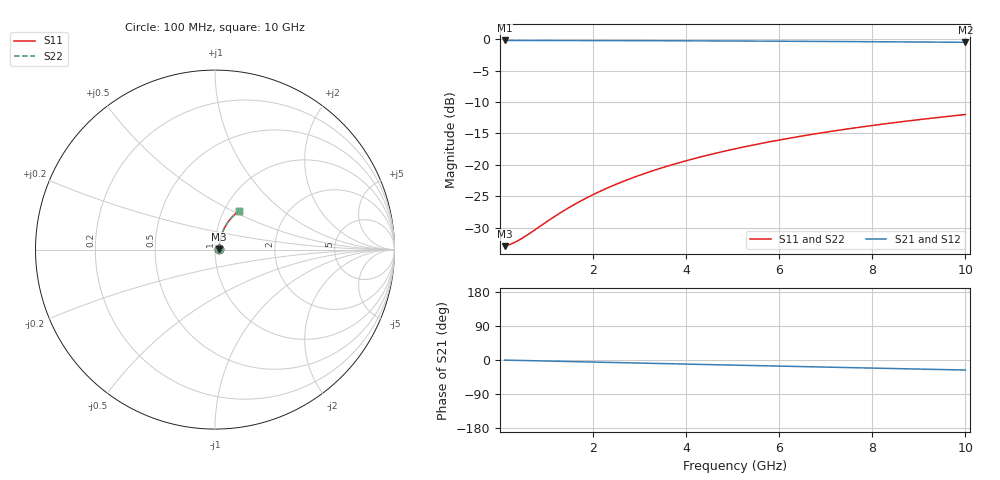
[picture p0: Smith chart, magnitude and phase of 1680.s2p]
# Hz S RI R 50.00
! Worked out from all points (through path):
!   100 points, 100 MHz to 10 GHz, reference 50 ohm
!   highest |S21| = -0.20 dB at 100 MHz (marker M1); lowest = -0.5 dB at 10 GHz (marker M2)
!   group delay of S21, straight-line fit = 7.37 ps
!   lowest |S11| = -33.0 dB at 100 MHz (marker M3), VSWR 1.05, Z = 52.3 + j0.267 ohm
!   |S11| at or under -10 dB: start of sweep to end of sweep
!   |S22| runs from -33.0 to -12.0 dB; largest |S21 - S12| = 0
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1e8  0.0223 0.00255  0.9777 -0.00462  0.9777 -0.00462  0.0223 0.00255
2e8  0.0225 0.00509  0.9775 -0.00923  0.9775 -0.00923  0.0225 0.00509
3e8  0.0227 0.00764  0.9773 -0.0138  0.9773 -0.0138  0.0227 0.00764
4e8  0.0228 0.0102  0.9771 -0.0185  0.9771 -0.0185  0.0228 0.0102
6e8  0.0232 0.0153  0.9767 -0.0277  0.9767 -0.0277  0.0232 0.0153
1.1e9  0.0245 0.0279  0.9753 -0.0507  0.9753 -0.0507  0.0245 0.0279
1.3e9  0.0251 0.033  0.9745 -0.0599  0.9745 -0.0599  0.0251 0.033
1.5e9  0.0259 0.038  0.9736 -0.069  0.9736 -0.069  0.0259 0.038
1.8e9  0.0271 0.0455  0.9721 -0.0828  0.9721 -0.0828  0.0271 0.0455
2.1e9  0.0286 0.0529  0.9704 -0.0964  0.9704 -0.0964  0.0286 0.0529
2.5e9  0.0309 0.0628  0.9677 -0.1146  0.9677 -0.1146  0.0309 0.0628
2.9e9  0.0336 0.0726  0.9646 -0.1326  0.9646 -0.1326  0.0336 0.0726
3.4e9  0.0374 0.0846  0.9601 -0.155  0.9601 -0.155  0.0374 0.0846
3.8e9  0.0408 0.0941  0.956 -0.1728  0.956 -0.1728  0.0408 0.0941
4.2e9  0.0446 0.1034  0.9515 -0.1904  0.9515 -0.1904  0.0446 0.1034
4.6e9  0.0487 0.1125  0.9466 -0.2079  0.9466 -0.2079  0.0487 0.1125
5.1e9  0.0543 0.1237  0.9399 -0.2294  0.9399 -0.2294  0.0543 0.1237
5.9e9  0.0643 0.1409  0.928 -0.2633  0.928 -0.2633  0.0643 0.1409
6.7e9  0.0755 0.1573  0.9146 -0.2962  0.9146 -0.2962  0.0755 0.1573
7.5e9  0.0877 0.1726  0.8998 -0.3282  0.8998 -0.3282  0.0877 0.1726
8.4e9  0.1027 0.1887  0.8817 -0.363  0.8817 -0.363  0.1027 0.1887
1e10  0.132 0.2136  0.8458 -0.4214  0.8458 -0.4214  0.132 0.2136
